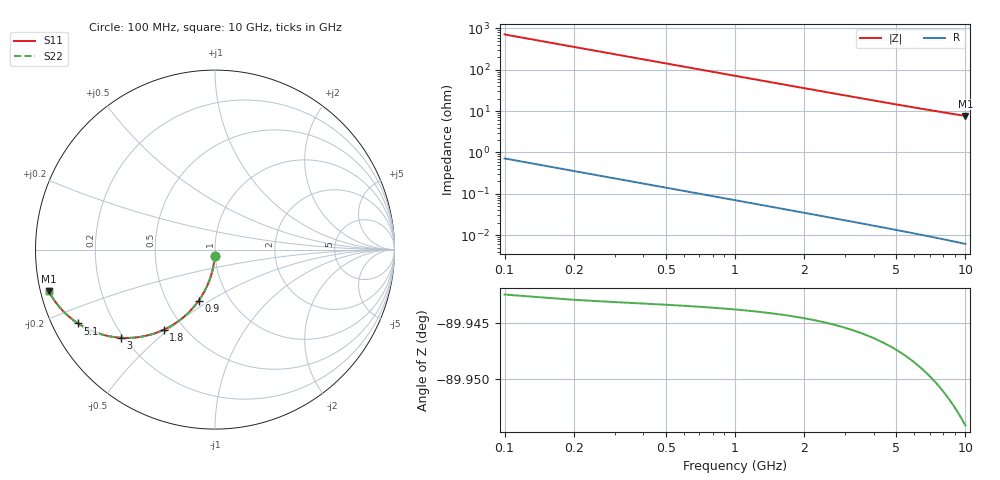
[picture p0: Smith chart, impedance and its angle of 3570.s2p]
# Hz S RI R 50.00
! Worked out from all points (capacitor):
!   100 points, 100 MHz to 10 GHz, reference 50 ohm
!   read as one part in shunt: C = 2.24 pF near 100 MHz
!   lowest |Z| = 7.64 ohm at 10 GHz (marker M1)
!   S11 on the Smith chart (normalised r, x): 100 MHz: 1.00, -0.07; 900 MHz: 0.72, -0.45; 1.8 GHz: 0.39, -0.48; 3 GHz: 0.19, -0.38; 5.1 GHz: 0.08, -0.25; 10 GHz: 0.02, -0.12
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1e8  -0.00122 -0.0348  0.9987 -0.0353  0.9987 -0.0353  -0.00122 -0.0348
2e8  -0.00493 -0.0694  0.995 -0.0704  0.995 -0.0704  -0.00493 -0.0694
3e8  -0.011 -0.1034  0.9889 -0.1049  0.9889 -0.1049  -0.011 -0.1034
4e8  -0.0194 -0.1367  0.9805 -0.1387  0.9805 -0.1387  -0.0194 -0.1367
5e8  -0.03 -0.169  0.9699 -0.1715  0.9699 -0.1715  -0.03 -0.169
6e8  -0.0426 -0.2001  0.9573 -0.2031  0.9573 -0.2031  -0.0426 -0.2001
7e8  -0.0571 -0.2299  0.9428 -0.2334  0.9428 -0.2334  -0.0571 -0.2299
9e8  -0.091 -0.2848  0.9089 -0.2894  0.9089 -0.2894  -0.091 -0.2848
1.1e9  -0.13 -0.3331  0.8699 -0.3386  0.8699 -0.3386  -0.13 -0.3331
1.3e9  -0.1726 -0.3741  0.8273 -0.3807  0.8273 -0.3807  -0.1726 -0.3741
1.5e9  -0.2173 -0.4081  0.7826 -0.4158  0.7826 -0.4158  -0.2173 -0.4081
1.8e9  -0.2855 -0.4466  0.7143 -0.4558  0.7143 -0.4558  -0.2855 -0.4466
2.3e9  -0.3948 -0.4825  0.605 -0.4942  0.605 -0.4942  -0.3948 -0.4825
2.6e9  -0.4547 -0.4908  0.5451 -0.5041  0.5451 -0.5041  -0.4547 -0.4908
3e9  -0.5262 -0.4911  0.4736 -0.5065  0.4736 -0.5065  -0.5262 -0.4911
3.4e9  -0.588 -0.4829  0.4118 -0.5004  0.4118 -0.5004  -0.588 -0.4829
4.2e9  -0.6856 -0.4528  0.3141 -0.4746  0.3141 -0.4746  -0.6856 -0.4528
5.1e9  -0.7632 -0.4112  0.2363 -0.4377  0.2363 -0.4377  -0.7632 -0.4112
5.9e9  -0.8122 -0.3743  0.1872 -0.4052  0.1872 -0.4052  -0.8122 -0.3743
6.7e9  -0.8484 -0.34  0.1508 -0.3754  0.1508 -0.3754  -0.8484 -0.34
8.4e9  -0.8988 -0.2778  0.1001 -0.3229  0.1001 -0.3229  -0.8988 -0.2778
1e10  -0.927 -0.231  0.0714 -0.2855  0.0714 -0.2855  -0.927 -0.231
